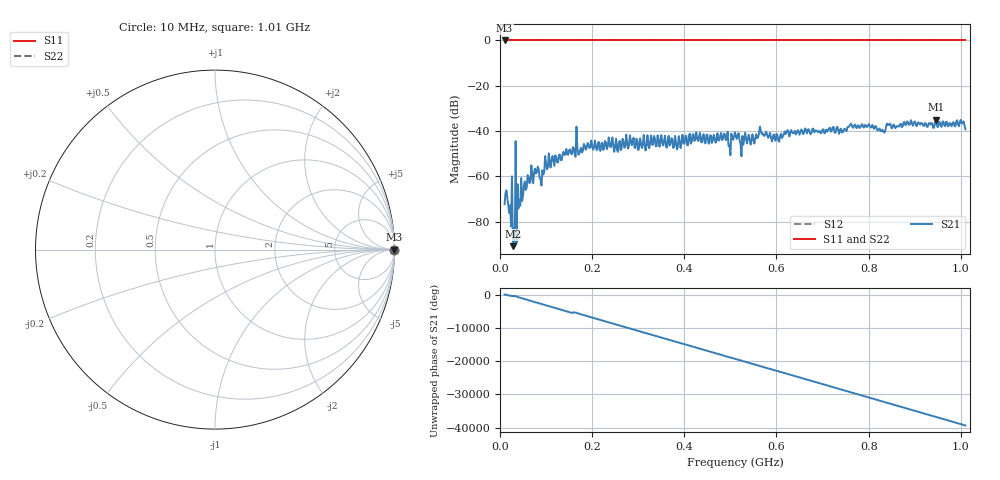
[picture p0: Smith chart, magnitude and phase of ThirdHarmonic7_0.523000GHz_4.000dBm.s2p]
! 8/17/2025 3:26:08 PM
! C:\ANRITSUVNA\TEMP\TEMP.S2P
! CHANNEL.1
! TR.MEASUREMENT
! RAW.DATA
! RF.CORRECTION.OFF
! AVERAGING.OFF
! IF.BANDWIDTH: 5KHZ
! SWEEPTYPE:  FREQ.SWEEP(Linear)
! Reference Plane Port Info
! PORT:  PORT1  PORT2
! DISTANCE:  0  m  0  m
! TIME:  0  s  0  s
! PHASE.OFFSET:  0  deg.  0  deg.
! LOSS:  0  dB  0  dB
! REF.LOSS:  0  dB  0  dB
! REF.FREQ:  0  Hz  0  Hz
! Power Info
! POWER:  -20  dBm  -20  dBm
! EFF.POWER:  -20  dBm  -20  dBm
! SOURCE.ATTEN:  0  dB  0  dB
! TEST.ATTEN:  0  dB  0  dB
# GHZ S RI R 50.0
! FREQ.GHZ  S11RE  S11IM  S21RE  S21IM  S12RE  S12IM  S22RE  S22IM
!; PortSelection: Port_12
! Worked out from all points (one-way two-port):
!   501 points, 10 MHz to 1.01 GHz, reference 50 ohm
!   highest |S21| = -34.98 dB at 946 MHz (marker M1); lowest = -90.9 dB at 28 MHz (marker M2)
!   lowest |S11| = 0.0 dB at 10 MHz (marker M3)
!   |S11| at or under -10 dB: nowhere
!   |S22| runs from 0.0 to 0.0 dB; largest |S21 - S12| = 1
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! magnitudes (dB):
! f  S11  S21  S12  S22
! 10 MHz  0.0  -72.3  0.0  0.0
! 28 MHz  0.0  -90.9  0.0  0.0
! 30 MHz  0.0  -82.7  0.0  0.0
! 32 MHz  0.0  -90.8  0.0  0.0
! 38 MHz  0.0  -63.5  0.0  0.0
! 40 MHz  0.0  -74.2  0.0  0.0
! 42 MHz  0.0  -70.4  0.0  0.0
! 72 MHz  0.0  -63.1  0.0  0.0
! 90 MHz  0.0  -64.1  0.0  0.0
! 102 MHz  0.0  -56.9  0.0  0.0
! 178 MHz  0.0  -49.5  0.0  0.0
! 344 MHz  0.0  -43.3  0.0  0.0
! 490 MHz  0.0  -44.0  0.0  0.0
! 500 MHz  0.0  -50.7  0.0  0.0
! 510 MHz  0.0  -40.6  0.0  0.0
! 524 MHz  0.0  -51.2  0.0  0.0
! 566 MHz  0.0  -40.1  0.0  0.0
! 594 MHz  0.0  -41.5  0.0  0.0
! 678 MHz  0.0  -39.0  0.0  0.0
! 844 MHz  0.0  -37.3  0.0  0.0
! 946 MHz  0.0  -35.0  0.0  0.0
! 1.01 GHz  0.0  -39.2  0.0  0.0
